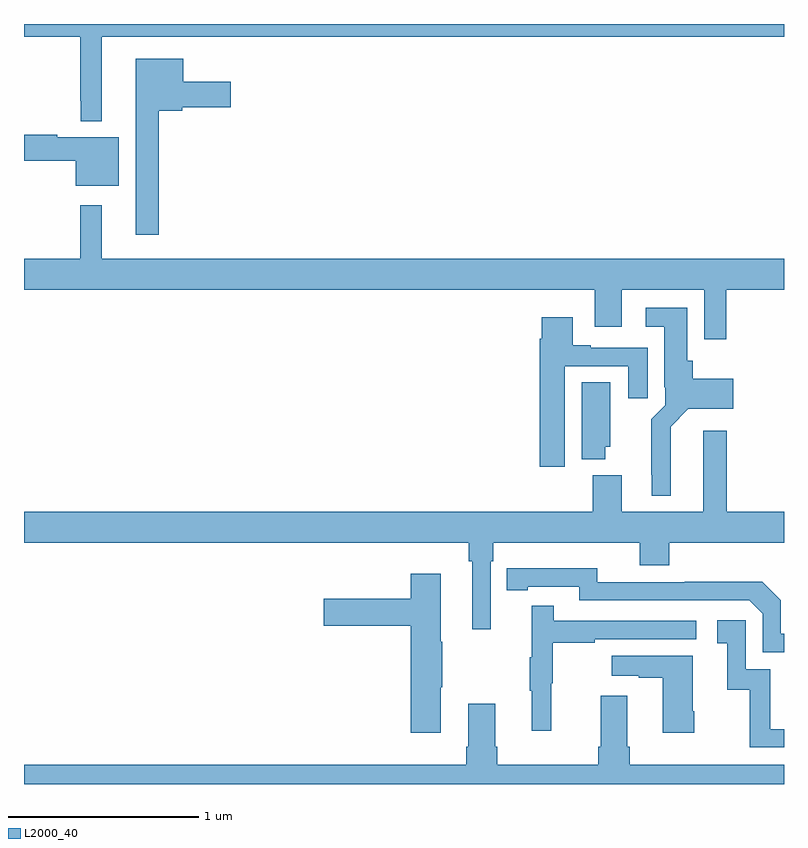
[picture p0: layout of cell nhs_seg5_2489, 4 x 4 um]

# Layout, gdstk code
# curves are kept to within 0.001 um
import gdstk
lib = gdstk.Library(unit=1e-6, precision=1e-09)
def P(c, l, *ps):  # polygons
    for p in ps: c.add(gdstk.Polygon(p, *l))
L2000_40 = (2000, 40)

nhs_seg5_2489 = lib.new_cell('nhs_seg5_2489')
P(nhs_seg5_2489, L2000_40, [(255.409,884.732),(259,884.732),(259,884.799),(255,884.799),(255,884.732),(255.295,884.732),(255.295,884.395),(255.298,884.395),(255.298,884.288),(255.409,884.288)],
  [(255.709,884.342),(255.834,884.342),(255.834,884.36),(256.087,884.36),(256.087,884.494),(255.838,884.494),(255.838,884.617),(255.587,884.617),(255.587,883.689),(255.709,883.689)],
  [(255.499,884.203),(255.176,884.203),(255.176,884.216),(255,884.216),(255,884.08),(255.272,884.08),(255.272,883.949),(255.499,883.949)],
  [(258.695,883.4),(259,883.4),(259,883.564),(255.409,883.564),(255.409,883.846),(255.295,883.846),(255.295,883.564),(255,883.564),(255,883.4),(258.005,883.4),(258.005,883.206),(258.145,883.206),(258.145,883.4),(258.579,883.4),(258.579,883.14),(258.695,883.14)],
  [(258.403,882.68),(258.495,882.773),(258.733,882.773),(258.733,882.931),(258.521,882.931),(258.521,883.026),(258.49,883.026),(258.49,883.306),(258.273,883.306),(258.273,883.205),(258.371,883.205),(258.371,882.886),(258.375,882.886),(258.375,882.792),(258.301,882.718),(258.301,882.427),(258.305,882.427),(258.305,882.317),(258.403,882.317)],
  [(257.845,882.999),(258.179,882.999),(258.179,882.828),(258.283,882.828),(258.283,883.095),(257.983,883.095),(257.983,883.108),(257.887,883.108),(257.887,883.255),(257.726,883.255),(257.726,883.142),(257.714,883.142),(257.714,882.468),(257.845,882.468)],
  [(258.058,882.573),(258.085,882.573),(258.085,882.914),(257.936,882.914),(257.936,882.509),(258.058,882.509)],
  [(257.457,881.972),(257.471,881.972),(257.471,882.068),(258.242,882.068),(258.242,881.951),(258.395,881.951),(258.395,882.068),(259,882.068),(259,882.232),(258.698,882.232),(258.698,882.658),(258.575,882.658),(258.575,882.232),(258.145,882.232),(258.145,882.424),(257.993,882.424),(257.993,882.232),(255,882.232),(255,882.068),(257.341,882.068),(257.341,881.972),(257.36,881.972),(257.36,881.613),(257.457,881.613)],
  [(259,881.589),(258.984,881.589),(258.984,881.766),(258.886,881.864),(258.478,881.864),(258.478,881.862),(258.018,881.862),(258.018,881.935),(257.542,881.934),(257.542,881.818),(257.65,881.818),(257.65,881.838),(257.922,881.838),(257.922,881.766),(258.816,881.766),(258.888,881.694),(258.888,881.493),(259,881.493)],
  [(257.194,881.308),(257.202,881.308),(257.202,881.549),(257.194,881.549),(257.194,881.905),(257.036,881.905),(257.036,881.775),(256.578,881.775),(256.578,881.633),(257.036,881.633),(257.036,881.07),(257.194,881.07)],
  [(257.774,881.328),(257.782,881.328),(257.782,881.542),(258.005,881.542),(258.005,881.562),(258.538,881.562),(258.538,881.658),(257.789,881.658),(257.789,881.737),(257.672,881.737),(257.672,881.465),(257.661,881.465),(257.661,881.291),(257.672,881.291),(257.672,881.079),(257.774,881.079)],
  [(259,881.088),(258.927,881.088),(258.927,881.403),(258.798,881.403),(258.798,881.662),(258.648,881.662),(258.648,881.541),(258.701,881.541),(258.701,881.295),(258.819,881.295),(258.819,880.992),(259,880.992)],
  [(258.528,881.182),(258.52,881.182),(258.52,881.473),(258.093,881.473),(258.093,881.369),(258.236,881.369),(258.236,881.359),(258.362,881.359),(258.362,881.07),(258.528,881.07)],
  [(259,880.9),(258.188,880.9),(258.188,880.996),(258.175,880.996),(258.175,881.263),(258.035,881.263),(258.035,880.996),(258.023,880.996),(258.023,880.9),(257.492,880.9),(257.492,880.996),(257.479,880.996),(257.479,881.221),(257.339,881.221),(257.339,880.996),(257.327,880.996),(257.327,880.9),(255,880.9),(255,880.799),(259,880.799)])

lib.write_gds('nhs_seg5_2489.gds')
